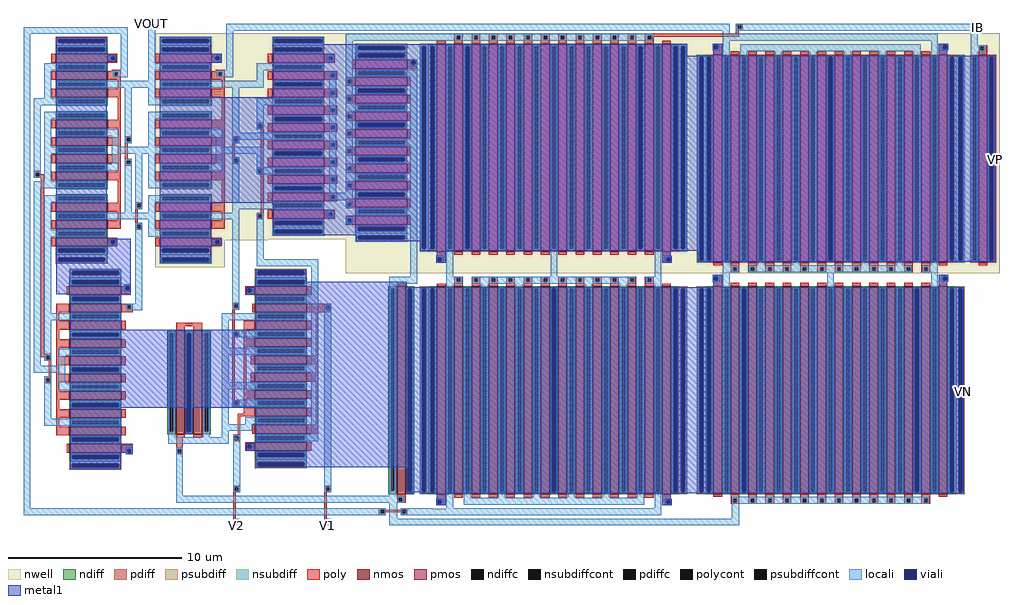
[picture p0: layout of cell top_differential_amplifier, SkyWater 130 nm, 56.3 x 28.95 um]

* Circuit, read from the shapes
.subckt top_differential_amplifier IB V1 V2 VN VOUT VP
XM1 n1 VN VN VN sky130_fd_pr__nfet_01v8 w=3 l=0.5 m=2
XM2 VOUT bias_generator_0/VCN n1 VN sky130_fd_pr__nfet_01v8 w=3 l=0.5 m=4
XM3 n2 bias_generator_0/VCN n3 VN sky130_fd_pr__nfet_01v8 w=3 l=0.5 m=4
XM4 VN VN VN VN sky130_fd_pr__nfet_01v8 w=3 l=0.5 m=2
XM5 n1 n2 VN VN sky130_fd_pr__nfet_01v8 w=3 l=0.5 m=4
XM6 n3 n2 VN VN sky130_fd_pr__nfet_01v8 w=3 l=0.5 m=4
XM7 VN bias_generator_0/VBN n4 VN sky130_fd_pr__nfet_01v8 w=6 l=0.5 m=2
XM8 n5 VN VN VN sky130_fd_pr__nfet_01v8 w=3 l=0.5 m=2
XM9 n4 V1 n5 VN sky130_fd_pr__nfet_01v8 w=3 l=0.5 m=4
XM10 n6 V2 n4 VN sky130_fd_pr__nfet_01v8 w=3 l=0.5 m=4
XM11 VN bias_generator_0/VBN bias_generator_0/VBN VN sky130_fd_pr__nfet_01v8 w=12 l=0.5
XM12 bias_generator_0/VCN VN VN VN sky130_fd_pr__nfet_01v8 w=12 l=0.5 m=2
XM13 n7 bias_generator_0/VCN bias_generator_0/VCN VN sky130_fd_pr__nfet_01v8 w=12 l=0.5 m=2
XM14 n8 n8 n7 VN sky130_fd_pr__nfet_01v8 w=12 l=0.5 m=8
XM15 VN n8 n7 VN sky130_fd_pr__nfet_01v8 w=12 l=0.5 m=2
XM16 bias_generator_0/VCP VN VN VN sky130_fd_pr__nfet_01v8 w=12 l=0.5 m=2
XM17 VN bias_generator_0/VBN bias_generator_0/VCP VN sky130_fd_pr__nfet_01v8 w=12 l=0.5 m=2
XM18 n9 bias_generator_0/VBN VN VN sky130_fd_pr__nfet_01v8 w=12 l=0.5
XM19 n10 bias_generator_0/VBN n9 VN sky130_fd_pr__nfet_01v8 w=12 l=0.5
XM20 n11 bias_generator_0/VBN n10 VN sky130_fd_pr__nfet_01v8 w=12 l=0.5
XM21 n12 bias_generator_0/VBN n11 VN sky130_fd_pr__nfet_01v8 w=12 l=0.5
XM22 n13 bias_generator_0/VBN n12 VN sky130_fd_pr__nfet_01v8 w=12 l=0.5
XM23 n14 bias_generator_0/VBN n13 VN sky130_fd_pr__nfet_01v8 w=12 l=0.5
XM24 n15 bias_generator_0/VBN n14 VN sky130_fd_pr__nfet_01v8 w=12 l=0.5
XM25 n16 bias_generator_0/VBN n15 VN sky130_fd_pr__nfet_01v8 w=12 l=0.5
XM26 n17 bias_generator_0/VBN n16 VN sky130_fd_pr__nfet_01v8 w=12 l=0.5
XM27 VN bias_generator_0/VBN n17 VN sky130_fd_pr__nfet_01v8 w=12 l=0.5
XM28 VOUT VP VP VP sky130_fd_pr__pfet_01v8 w=3 l=0.5 m=2
XM29 n6 bias_generator_0/VCP VOUT VP sky130_fd_pr__pfet_01v8 w=3 l=0.5 m=4
XM30 n5 bias_generator_0/VCP n2 VP sky130_fd_pr__pfet_01v8 w=3 l=0.5 m=4
XM31 n6 VP VP VP sky130_fd_pr__pfet_01v8 w=3 l=0.5 m=2
XM32 VP IB n6 VP sky130_fd_pr__pfet_01v8 w=3 l=0.5 m=4
XM33 n5 IB VP VP sky130_fd_pr__pfet_01v8 w=3 l=0.5 m=4
XM34 bias_generator_0/VBN VP VP VP sky130_fd_pr__pfet_01v8 w=3 l=0.5 m=2
XM35 VP IB bias_generator_0/VBN VP sky130_fd_pr__pfet_01v8 w=3 l=0.5 m=4
XM36 IB IB VP VP sky130_fd_pr__pfet_01v8 w=3 l=0.5 m=4
XM37 bias_generator_0/VCN VP VP VP sky130_fd_pr__pfet_01v8 w=12 l=0.5 m=2
XM38 VP IB bias_generator_0/VCN VP sky130_fd_pr__pfet_01v8 w=12 l=0.5 m=2
XM39 n18 IB VP VP sky130_fd_pr__pfet_01v8 w=12 l=0.5
XM40 n19 IB n18 VP sky130_fd_pr__pfet_01v8 w=12 l=0.5
XM41 n20 IB n19 VP sky130_fd_pr__pfet_01v8 w=12 l=0.5
XM42 n21 IB n20 VP sky130_fd_pr__pfet_01v8 w=12 l=0.5
XM43 n8 IB n21 VP sky130_fd_pr__pfet_01v8 w=12 l=0.5
XM44 n22 IB n8 VP sky130_fd_pr__pfet_01v8 w=12 l=0.5
XM45 n23 IB n22 VP sky130_fd_pr__pfet_01v8 w=12 l=0.5
XM46 n24 IB n23 VP sky130_fd_pr__pfet_01v8 w=12 l=0.5
XM47 n25 IB n24 VP sky130_fd_pr__pfet_01v8 w=12 l=0.5
XM48 VP IB n25 VP sky130_fd_pr__pfet_01v8 w=12 l=0.5
XM49 bias_generator_0/VCP VP VP VP sky130_fd_pr__pfet_01v8 w=12 l=0.5 m=2
XM50 n26 bias_generator_0/VCP bias_generator_0/VCP VP sky130_fd_pr__pfet_01v8 w=12 l=0.5 m=2
XM51 n13 n13 n26 VP sky130_fd_pr__pfet_01v8 w=12 l=0.5 m=8
XM52 VP n13 n26 VP sky130_fd_pr__pfet_01v8 w=12 l=0.5 m=2
XM53 VP IB IB VP sky130_fd_pr__pfet_01v8 w=12 l=0.5
.ends

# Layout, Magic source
magic
tech sky130A
<< nwell >>
rect -7020 1705 -6970 2895
rect -3410 1510 -3200 2895
<< pmos >>
rect -3320 1570 -3270 2770
<< pdiff >>
rect -3370 2755 -3320 2770
rect -3370 1585 -3355 2755
rect -3335 1585 -3320 2755
rect -3370 1570 -3320 1585
rect -3270 2755 -3220 2770
rect -3270 1585 -3255 2755
rect -3235 1585 -3220 2755
rect -3270 1570 -3220 1585
<< pdiffc >>
rect -3355 1585 -3335 2755
rect -3255 1585 -3235 2755
<< poly >>
rect -4720 2940 -4680 2950
rect -4720 2920 -4710 2940
rect -4690 2920 -4680 2940
rect -4720 2910 -4680 2920
rect -4720 2890 -4705 2910
rect -5200 2875 -4705 2890
rect -3320 2815 -3270 2825
rect -3320 2795 -3310 2815
rect -3290 2795 -3270 2815
rect -3320 2770 -3270 2795
rect -3320 1555 -3270 1570
rect -7620 275 -7580 285
rect -7620 255 -7610 275
rect -7590 255 -7580 275
rect -7620 245 -7580 255
rect -7095 275 -7055 285
rect -7095 255 -7085 275
rect -7065 255 -7055 275
rect -7095 245 -7055 255
rect -7620 95 -7605 245
rect -7095 95 -7080 245
rect -6780 145 -6740 155
rect -6655 145 -6615 155
rect -6780 125 -6770 145
rect -6750 130 -6645 145
rect -6750 125 -6740 130
rect -6780 115 -6740 125
rect -6655 125 -6645 130
rect -6625 125 -6615 145
rect -6655 115 -6615 125
rect -7620 85 -7580 95
rect -7620 65 -7610 85
rect -7590 65 -7580 85
rect -7620 55 -7580 65
rect -7095 85 -7055 95
rect -7095 65 -7085 85
rect -7065 65 -7055 85
rect -7095 55 -7055 65
<< polycont >>
rect -4710 2920 -4690 2940
rect -3310 2795 -3290 2815
rect -7610 255 -7590 275
rect -7085 255 -7065 275
rect -6770 125 -6750 145
rect -6645 125 -6625 145
rect -7610 65 -7590 85
rect -7085 65 -7065 85
<< locali >>
rect -8830 2890 -8230 2930
rect -8830 155 -8790 2890
rect -8270 2680 -8230 2890
rect -8110 2720 -8070 2950
rect -7660 2910 -4755 2950
rect -4720 2940 -3325 2950
rect -4720 2920 -4710 2940
rect -4690 2920 -3325 2940
rect -4720 2910 -3325 2920
rect -7660 2680 -7620 2910
rect -4795 2890 -4755 2910
rect -8275 2640 -8230 2680
rect -7675 2640 -7620 2680
rect -3365 2825 -3325 2910
rect -3365 2815 -3280 2825
rect -3365 2795 -3310 2815
rect -3290 2795 -3280 2815
rect -3365 2785 -3280 2795
rect -3365 2755 -3325 2785
rect -7025 1930 -6970 1975
rect -3365 1585 -3355 2755
rect -3335 1585 -3325 2755
rect -3365 1575 -3325 1585
rect -3265 2755 -3225 2765
rect -3265 1585 -3255 2755
rect -3235 1585 -3225 2755
rect -3265 1575 -3225 1585
rect -7950 225 -7910 465
rect -7620 275 -7580 580
rect -7620 255 -7610 275
rect -7590 255 -7580 275
rect -7620 245 -7580 255
rect -7095 275 -7055 1330
rect -7095 255 -7085 275
rect -7065 255 -7055 275
rect -7095 245 -7055 255
rect -7950 185 -6720 225
rect -8830 145 -6740 155
rect -8830 125 -6770 145
rect -6750 125 -6740 145
rect -8830 115 -6740 125
rect -6655 150 -6465 155
rect -6390 150 -6380 155
rect -6655 145 -6380 150
rect -6655 125 -6645 145
rect -6625 125 -6380 145
rect -6655 115 -6380 125
rect -7620 85 -7580 95
rect -7620 65 -7610 85
rect -7590 65 -7580 85
rect -7620 55 -7580 65
rect -7095 85 -7055 95
rect -7095 65 -7085 85
rect -7065 65 -7055 85
rect -7095 55 -7055 65
<< viali >>
rect -3255 1585 -3235 2755
<< metal1 >>
rect -7100 1730 -6910 2830
rect -3410 2755 -3225 2765
rect -3410 1585 -3255 2755
rect -3235 1585 -3225 2755
rect -3410 1575 -3225 1585
rect -7200 390 -6620 1460
rect -3445 810 -3405 850
use bias_generator  bias_generator_0
transform 1 0 -7520 0 1 2690
box 550 -2635 4140 205
use folded_cascode_differential_amplifier  folded_cascode_differential_amplifier_0 ~/Documents/VLSI/mp3/layouts
transform 0 1 -7190 -1 0 2785
box -110 -1580 2410 170
<< labels >>
rlabel metal1 -3225 2165 -3225 2165 3 VP
rlabel metal1 -3405 830 -3405 830 3 VN
rlabel locali -3325 2930 -3325 2930 3 IB
rlabel locali -8090 2950 -8090 2950 1 VOUT
rlabel locali -7600 55 -7600 55 5 V2
rlabel locali -7075 55 -7075 55 5 V1
<< end >>

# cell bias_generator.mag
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
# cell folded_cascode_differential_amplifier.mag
magic
tech sky130A
<< nwell >>
rect -110 -230 1080 170
rect -110 -480 1085 -230
rect -110 -880 1240 -480
<< nmos >>
rect 1350 -305 1400 -5
rect 1450 -305 1500 -5
rect 1550 -305 1600 -5
rect 1650 -305 1700 -5
rect 1750 -305 1800 -5
rect 1850 -305 1900 -5
rect 1950 -305 2000 -5
rect 2050 -305 2100 -5
rect 2150 -305 2200 -5
rect 2250 -305 2300 -5
rect 1605 -660 2205 -610
rect 1605 -760 2205 -710
rect 10 -1455 60 -1155
rect 110 -1455 160 -1155
rect 210 -1455 260 -1155
rect 390 -1455 440 -1155
rect 490 -1455 540 -1155
rect 590 -1455 640 -1155
rect 690 -1455 740 -1155
rect 870 -1455 920 -1155
rect 970 -1455 1020 -1155
rect 1070 -1455 1120 -1155
rect 1350 -1375 1400 -1075
rect 1450 -1375 1500 -1075
rect 1550 -1375 1600 -1075
rect 1655 -1375 1705 -1075
rect 1755 -1375 1805 -1075
rect 1855 -1375 1905 -1075
rect 1955 -1375 2005 -1075
rect 2060 -1375 2110 -1075
rect 2160 -1375 2210 -1075
rect 2260 -1375 2310 -1075
<< pmos >>
rect 10 -205 60 95
rect 110 -205 160 95
rect 210 -205 260 95
rect 310 -205 360 95
rect 410 -205 460 95
rect 510 -205 560 95
rect 610 -205 660 95
rect 710 -205 760 95
rect 810 -205 860 95
rect 910 -205 960 95
rect 10 -855 60 -555
rect 110 -855 160 -555
rect 210 -855 260 -555
rect 390 -855 440 -555
rect 490 -855 540 -555
rect 590 -855 640 -555
rect 690 -855 740 -555
rect 870 -855 920 -555
rect 970 -855 1020 -555
rect 1070 -855 1120 -555
<< ndiff >>
rect 1300 -20 1350 -5
rect 1300 -290 1315 -20
rect 1335 -290 1350 -20
rect 1300 -305 1350 -290
rect 1400 -20 1450 -5
rect 1400 -290 1415 -20
rect 1435 -290 1450 -20
rect 1400 -305 1450 -290
rect 1500 -20 1550 -5
rect 1500 -290 1515 -20
rect 1535 -290 1550 -20
rect 1500 -305 1550 -290
rect 1600 -20 1650 -5
rect 1600 -290 1615 -20
rect 1635 -290 1650 -20
rect 1600 -305 1650 -290
rect 1700 -20 1750 -5
rect 1700 -290 1715 -20
rect 1735 -290 1750 -20
rect 1700 -305 1750 -290
rect 1800 -20 1850 -5
rect 1800 -290 1815 -20
rect 1835 -290 1850 -20
rect 1800 -305 1850 -290
rect 1900 -20 1950 -5
rect 1900 -290 1915 -20
rect 1935 -290 1950 -20
rect 1900 -305 1950 -290
rect 2000 -20 2050 -5
rect 2000 -290 2015 -20
rect 2035 -290 2050 -20
rect 2000 -305 2050 -290
rect 2100 -20 2150 -5
rect 2100 -290 2115 -20
rect 2135 -290 2150 -20
rect 2100 -305 2150 -290
rect 2200 -20 2250 -5
rect 2200 -290 2215 -20
rect 2235 -290 2250 -20
rect 2200 -305 2250 -290
rect 2300 -20 2350 -5
rect 2300 -290 2315 -20
rect 2335 -290 2350 -20
rect 2300 -305 2350 -290
rect 1605 -575 2205 -560
rect 1605 -595 1620 -575
rect 2190 -595 2205 -575
rect 1605 -610 2205 -595
rect 1605 -675 2205 -660
rect 1605 -695 1620 -675
rect 2190 -695 2205 -675
rect 1605 -710 2205 -695
rect 1605 -775 2205 -760
rect 1605 -795 1620 -775
rect 2190 -795 2205 -775
rect 1605 -810 2205 -795
rect 1300 -1090 1350 -1075
rect -40 -1170 10 -1155
rect -40 -1440 -25 -1170
rect -5 -1440 10 -1170
rect -40 -1455 10 -1440
rect 60 -1170 110 -1155
rect 60 -1440 75 -1170
rect 95 -1440 110 -1170
rect 60 -1455 110 -1440
rect 160 -1170 210 -1155
rect 160 -1440 175 -1170
rect 195 -1440 210 -1170
rect 160 -1455 210 -1440
rect 260 -1170 310 -1155
rect 260 -1440 275 -1170
rect 295 -1440 310 -1170
rect 260 -1455 310 -1440
rect 340 -1170 390 -1155
rect 340 -1440 355 -1170
rect 375 -1440 390 -1170
rect 340 -1455 390 -1440
rect 440 -1170 490 -1155
rect 440 -1440 455 -1170
rect 475 -1440 490 -1170
rect 440 -1455 490 -1440
rect 540 -1170 590 -1155
rect 540 -1440 555 -1170
rect 575 -1440 590 -1170
rect 540 -1455 590 -1440
rect 640 -1170 690 -1155
rect 640 -1440 655 -1170
rect 675 -1440 690 -1170
rect 640 -1455 690 -1440
rect 740 -1170 790 -1155
rect 740 -1440 755 -1170
rect 775 -1440 790 -1170
rect 740 -1455 790 -1440
rect 820 -1170 870 -1155
rect 820 -1440 835 -1170
rect 855 -1440 870 -1170
rect 820 -1455 870 -1440
rect 920 -1170 970 -1155
rect 920 -1440 935 -1170
rect 955 -1440 970 -1170
rect 920 -1455 970 -1440
rect 1020 -1170 1070 -1155
rect 1020 -1440 1035 -1170
rect 1055 -1440 1070 -1170
rect 1020 -1455 1070 -1440
rect 1120 -1170 1170 -1155
rect 1120 -1440 1135 -1170
rect 1155 -1440 1170 -1170
rect 1300 -1360 1315 -1090
rect 1335 -1360 1350 -1090
rect 1300 -1375 1350 -1360
rect 1400 -1090 1450 -1075
rect 1400 -1360 1415 -1090
rect 1435 -1360 1450 -1090
rect 1400 -1375 1450 -1360
rect 1500 -1090 1550 -1075
rect 1500 -1360 1515 -1090
rect 1535 -1360 1550 -1090
rect 1500 -1375 1550 -1360
rect 1600 -1090 1655 -1075
rect 1600 -1360 1620 -1090
rect 1640 -1360 1655 -1090
rect 1600 -1375 1655 -1360
rect 1705 -1090 1755 -1075
rect 1705 -1360 1720 -1090
rect 1740 -1360 1755 -1090
rect 1705 -1375 1755 -1360
rect 1805 -1090 1855 -1075
rect 1805 -1360 1820 -1090
rect 1840 -1360 1855 -1090
rect 1805 -1375 1855 -1360
rect 1905 -1090 1955 -1075
rect 1905 -1360 1920 -1090
rect 1940 -1360 1955 -1090
rect 1905 -1375 1955 -1360
rect 2005 -1090 2060 -1075
rect 2005 -1360 2025 -1090
rect 2045 -1360 2060 -1090
rect 2005 -1375 2060 -1360
rect 2110 -1090 2160 -1075
rect 2110 -1360 2125 -1090
rect 2145 -1360 2160 -1090
rect 2110 -1375 2160 -1360
rect 2210 -1090 2260 -1075
rect 2210 -1360 2225 -1090
rect 2245 -1360 2260 -1090
rect 2210 -1375 2260 -1360
rect 2310 -1090 2360 -1075
rect 2310 -1360 2325 -1090
rect 2345 -1360 2360 -1090
rect 2310 -1375 2360 -1360
rect 1120 -1455 1170 -1440
<< pdiff >>
rect -40 80 10 95
rect -40 -190 -25 80
rect -5 -190 10 80
rect -40 -205 10 -190
rect 60 80 110 95
rect 60 -190 75 80
rect 95 -190 110 80
rect 60 -205 110 -190
rect 160 80 210 95
rect 160 -190 175 80
rect 195 -190 210 80
rect 160 -205 210 -190
rect 260 80 310 95
rect 260 -190 275 80
rect 295 -190 310 80
rect 260 -205 310 -190
rect 360 80 410 95
rect 360 -190 375 80
rect 395 -190 410 80
rect 360 -205 410 -190
rect 460 80 510 95
rect 460 -190 475 80
rect 495 -190 510 80
rect 460 -205 510 -190
rect 560 80 610 95
rect 560 -190 575 80
rect 595 -190 610 80
rect 560 -205 610 -190
rect 660 80 710 95
rect 660 -190 675 80
rect 695 -190 710 80
rect 660 -205 710 -190
rect 760 80 810 95
rect 760 -190 775 80
rect 795 -190 810 80
rect 760 -205 810 -190
rect 860 80 910 95
rect 860 -190 875 80
rect 895 -190 910 80
rect 860 -205 910 -190
rect 960 80 1010 95
rect 960 -190 975 80
rect 995 -190 1010 80
rect 960 -205 1010 -190
rect -40 -570 10 -555
rect -40 -840 -25 -570
rect -5 -840 10 -570
rect -40 -855 10 -840
rect 60 -570 110 -555
rect 60 -840 75 -570
rect 95 -840 110 -570
rect 60 -855 110 -840
rect 160 -570 210 -555
rect 160 -840 175 -570
rect 195 -840 210 -570
rect 160 -855 210 -840
rect 260 -570 310 -555
rect 260 -840 275 -570
rect 295 -840 310 -570
rect 260 -855 310 -840
rect 340 -570 390 -555
rect 340 -840 355 -570
rect 375 -840 390 -570
rect 340 -855 390 -840
rect 440 -570 490 -555
rect 440 -840 455 -570
rect 475 -840 490 -570
rect 440 -855 490 -840
rect 540 -570 590 -555
rect 540 -840 555 -570
rect 575 -840 590 -570
rect 540 -855 590 -840
rect 640 -570 690 -555
rect 640 -840 655 -570
rect 675 -840 690 -570
rect 640 -855 690 -840
rect 740 -570 790 -555
rect 740 -840 755 -570
rect 775 -840 790 -570
rect 740 -855 790 -840
rect 820 -570 870 -555
rect 820 -840 835 -570
rect 855 -840 870 -570
rect 820 -855 870 -840
rect 920 -570 970 -555
rect 920 -840 935 -570
rect 955 -840 970 -570
rect 920 -855 970 -840
rect 1020 -570 1070 -555
rect 1020 -840 1035 -570
rect 1055 -840 1070 -570
rect 1020 -855 1070 -840
rect 1120 -570 1170 -555
rect 1120 -840 1135 -570
rect 1155 -840 1170 -570
rect 1120 -855 1170 -840
<< ndiffc >>
rect 1315 -290 1335 -20
rect 1415 -290 1435 -20
rect 1515 -290 1535 -20
rect 1615 -290 1635 -20
rect 1715 -290 1735 -20
rect 1815 -290 1835 -20
rect 1915 -290 1935 -20
rect 2015 -290 2035 -20
rect 2115 -290 2135 -20
rect 2215 -290 2235 -20
rect 2315 -290 2335 -20
rect 1620 -595 2190 -575
rect 1620 -695 2190 -675
rect 1620 -795 2190 -775
rect -25 -1440 -5 -1170
rect 75 -1440 95 -1170
rect 175 -1440 195 -1170
rect 275 -1440 295 -1170
rect 355 -1440 375 -1170
rect 455 -1440 475 -1170
rect 555 -1440 575 -1170
rect 655 -1440 675 -1170
rect 755 -1440 775 -1170
rect 835 -1440 855 -1170
rect 935 -1440 955 -1170
rect 1035 -1440 1055 -1170
rect 1135 -1440 1155 -1170
rect 1315 -1360 1335 -1090
rect 1415 -1360 1435 -1090
rect 1515 -1360 1535 -1090
rect 1620 -1360 1640 -1090
rect 1720 -1360 1740 -1090
rect 1820 -1360 1840 -1090
rect 1920 -1360 1940 -1090
rect 2025 -1360 2045 -1090
rect 2125 -1360 2145 -1090
rect 2225 -1360 2245 -1090
rect 2325 -1360 2345 -1090
<< pdiffc >>
rect -25 -190 -5 80
rect 75 -190 95 80
rect 175 -190 195 80
rect 275 -190 295 80
rect 375 -190 395 80
rect 475 -190 495 80
rect 575 -190 595 80
rect 675 -190 695 80
rect 775 -190 795 80
rect 875 -190 895 80
rect 975 -190 995 80
rect -25 -840 -5 -570
rect 75 -840 95 -570
rect 175 -840 195 -570
rect 275 -840 295 -570
rect 355 -840 375 -570
rect 455 -840 475 -570
rect 555 -840 575 -570
rect 655 -840 675 -570
rect 755 -840 775 -570
rect 835 -840 855 -570
rect 935 -840 955 -570
rect 1035 -840 1055 -570
rect 1135 -840 1155 -570
<< psubdiff >>
rect 1250 -20 1300 -5
rect 1250 -290 1265 -20
rect 1285 -290 1300 -20
rect 1250 -305 1300 -290
rect 2350 -20 2400 -5
rect 2350 -290 2365 -20
rect 2385 -290 2400 -20
rect 2350 -305 2400 -290
rect 1250 -1090 1300 -1075
rect -90 -1170 -40 -1155
rect -90 -1440 -75 -1170
rect -55 -1440 -40 -1170
rect -90 -1455 -40 -1440
rect 1170 -1170 1220 -1155
rect 1170 -1440 1185 -1170
rect 1205 -1440 1220 -1170
rect 1250 -1360 1265 -1090
rect 1285 -1360 1300 -1090
rect 1250 -1375 1300 -1360
rect 2360 -1090 2410 -1075
rect 2360 -1360 2375 -1090
rect 2395 -1360 2410 -1090
rect 2360 -1375 2410 -1360
rect 1170 -1455 1220 -1440
<< nsubdiff >>
rect -90 80 -40 95
rect -90 -190 -75 80
rect -55 -190 -40 80
rect -90 -205 -40 -190
rect 1010 80 1060 95
rect 1010 -190 1025 80
rect 1045 -190 1060 80
rect 1010 -205 1060 -190
rect -90 -570 -40 -555
rect -90 -840 -75 -570
rect -55 -840 -40 -570
rect -90 -855 -40 -840
rect 1170 -570 1220 -555
rect 1170 -840 1185 -570
rect 1205 -840 1220 -570
rect 1170 -855 1220 -840
<< psubdiffcont >>
rect 1265 -290 1285 -20
rect 2365 -290 2385 -20
rect -75 -1440 -55 -1170
rect 1185 -1440 1205 -1170
rect 1265 -1360 1285 -1090
rect 2375 -1360 2395 -1090
<< nsubdiffcont >>
rect -75 -190 -55 80
rect 1025 -190 1045 80
rect -75 -840 -55 -570
rect 1185 -840 1205 -570
<< poly >>
rect 110 155 160 170
rect 10 140 60 155
rect 10 120 25 140
rect 45 120 60 140
rect 10 95 60 120
rect 110 135 125 155
rect 145 135 160 155
rect 110 95 160 135
rect 210 155 260 170
rect 210 135 225 155
rect 245 135 260 155
rect 210 95 260 135
rect 310 155 360 170
rect 310 135 325 155
rect 345 135 360 155
rect 310 95 360 135
rect 410 155 460 170
rect 410 135 425 155
rect 445 135 460 155
rect 410 95 460 135
rect 510 155 560 170
rect 510 135 525 155
rect 545 135 560 155
rect 510 95 560 135
rect 610 155 660 170
rect 610 135 625 155
rect 645 135 660 155
rect 610 95 660 135
rect 710 155 760 170
rect 710 135 725 155
rect 745 135 760 155
rect 710 95 760 135
rect 810 155 860 170
rect 810 135 825 155
rect 845 135 860 155
rect 810 95 860 135
rect 910 140 960 155
rect 910 120 925 140
rect 945 120 960 140
rect 910 95 960 120
rect 1450 125 1500 135
rect 1450 105 1465 125
rect 1485 105 1500 125
rect 1450 60 1500 105
rect 1450 45 2200 60
rect 1350 -5 1400 20
rect 1450 -5 1500 45
rect 1550 -5 1600 20
rect 1650 -5 1700 20
rect 1750 -5 1800 45
rect 1850 -5 1900 45
rect 1950 -5 2000 20
rect 2050 -5 2100 20
rect 2150 -5 2200 45
rect 2250 -5 2300 20
rect 10 -230 60 -205
rect 110 -230 160 -205
rect 210 -230 260 -205
rect 310 -230 360 -205
rect 410 -230 460 -205
rect 510 -230 560 -205
rect 610 -230 660 -205
rect 710 -230 760 -205
rect 810 -230 860 -205
rect 910 -230 960 -205
rect 405 -265 965 -255
rect 405 -285 415 -265
rect 435 -270 675 -265
rect 435 -285 445 -270
rect 405 -295 445 -285
rect 665 -285 675 -270
rect 695 -270 935 -265
rect 695 -285 705 -270
rect 665 -295 705 -285
rect 925 -285 935 -270
rect 955 -285 965 -265
rect 925 -295 965 -285
rect 1350 -325 1400 -305
rect 1450 -320 1500 -305
rect 1350 -345 1365 -325
rect 1385 -345 1400 -325
rect 1350 -360 1400 -345
rect 1550 -355 1600 -305
rect 1650 -355 1700 -305
rect 1750 -330 1800 -305
rect 1850 -330 1900 -305
rect 1950 -355 2000 -305
rect 2050 -355 2100 -305
rect 2150 -320 2200 -305
rect 1550 -370 2100 -355
rect 2250 -325 2300 -305
rect 2250 -345 2265 -325
rect 2285 -345 2300 -325
rect 2250 -360 2300 -345
rect 2085 -390 2100 -370
rect 485 -405 525 -395
rect 485 -425 495 -405
rect 515 -420 525 -405
rect 605 -405 645 -395
rect 605 -420 615 -405
rect 515 -425 615 -420
rect 635 -425 645 -405
rect 485 -435 645 -425
rect 1445 -405 1485 -395
rect 1445 -425 1455 -405
rect 1475 -420 1485 -405
rect 1605 -405 1645 -395
rect 1605 -420 1615 -405
rect 1475 -425 1615 -420
rect 1635 -420 1645 -405
rect 2005 -405 2045 -395
rect 2085 -400 2245 -390
rect 2085 -405 2215 -400
rect 2005 -420 2015 -405
rect 1635 -425 2015 -420
rect 2035 -425 2045 -405
rect 1445 -435 2045 -425
rect 2205 -420 2215 -405
rect 2235 -420 2245 -400
rect 2205 -430 2245 -420
rect 100 -495 1020 -480
rect 10 -510 60 -495
rect 10 -530 25 -510
rect 45 -530 60 -510
rect 100 -515 115 -495
rect 135 -515 160 -495
rect 100 -530 160 -515
rect 10 -555 60 -530
rect 110 -555 160 -530
rect 210 -555 260 -495
rect 390 -555 440 -495
rect 490 -555 540 -495
rect 590 -555 640 -495
rect 690 -555 740 -495
rect 870 -555 920 -495
rect 970 -555 1020 -495
rect 1070 -510 1120 -495
rect 1070 -530 1085 -510
rect 1105 -530 1120 -510
rect 1070 -555 1120 -530
rect 1560 -660 1605 -610
rect 2205 -660 2220 -610
rect 1560 -710 1580 -660
rect 1560 -760 1605 -710
rect 2205 -720 2220 -710
rect 2205 -730 2320 -720
rect 2205 -750 2290 -730
rect 2310 -750 2320 -730
rect 2205 -760 2320 -750
rect 10 -880 60 -855
rect 110 -880 160 -855
rect 210 -880 260 -855
rect 390 -880 440 -855
rect 490 -880 540 -855
rect 590 -880 640 -855
rect 690 -880 740 -855
rect 870 -880 920 -855
rect 970 -880 1020 -855
rect 1070 -880 1120 -855
rect 865 -965 905 -955
rect 865 -985 875 -965
rect 895 -980 905 -965
rect 985 -965 1025 -955
rect 985 -980 995 -965
rect 895 -985 995 -980
rect 1015 -985 1025 -965
rect 865 -995 1025 -985
rect 485 -1025 525 -1015
rect 485 -1045 495 -1025
rect 515 -1040 525 -1025
rect 615 -1025 655 -1015
rect 1450 -1020 1500 -1010
rect 615 -1040 625 -1025
rect 515 -1045 625 -1040
rect 645 -1045 655 -1025
rect 485 -1055 655 -1045
rect 1340 -1030 1400 -1020
rect 1340 -1050 1350 -1030
rect 1370 -1050 1400 -1030
rect 1340 -1060 1400 -1050
rect 1350 -1075 1400 -1060
rect 1450 -1040 1460 -1020
rect 1480 -1040 1500 -1020
rect 1450 -1075 1500 -1040
rect 2260 -1020 2320 -1010
rect 2260 -1040 2290 -1020
rect 2310 -1040 2320 -1020
rect 2260 -1050 2320 -1040
rect 1550 -1075 1600 -1050
rect 1655 -1075 1705 -1050
rect 1755 -1075 1805 -1050
rect 1855 -1075 1905 -1050
rect 1955 -1075 2005 -1050
rect 2060 -1075 2110 -1050
rect 2160 -1075 2210 -1050
rect 2260 -1075 2310 -1050
rect 100 -1095 1020 -1080
rect 10 -1115 60 -1100
rect 10 -1135 25 -1115
rect 45 -1135 60 -1115
rect 100 -1115 115 -1095
rect 135 -1115 160 -1095
rect 100 -1130 160 -1115
rect 10 -1155 60 -1135
rect 110 -1155 160 -1130
rect 210 -1155 260 -1095
rect 390 -1155 440 -1095
rect 490 -1155 540 -1095
rect 590 -1155 640 -1095
rect 690 -1155 740 -1095
rect 870 -1155 920 -1095
rect 970 -1155 1020 -1095
rect 1070 -1115 1120 -1100
rect 1070 -1135 1085 -1115
rect 1105 -1135 1120 -1115
rect 1070 -1155 1120 -1135
rect 1350 -1390 1400 -1375
rect 1450 -1435 1500 -1375
rect 1550 -1435 1600 -1375
rect 1655 -1435 1705 -1375
rect 1755 -1435 1805 -1375
rect 1855 -1435 1905 -1375
rect 1955 -1435 2005 -1375
rect 2060 -1435 2110 -1375
rect 2160 -1435 2210 -1375
rect 2260 -1390 2310 -1375
rect 1450 -1450 2210 -1435
rect 10 -1480 60 -1455
rect 110 -1480 160 -1455
rect 210 -1480 260 -1455
rect 390 -1480 440 -1455
rect 490 -1480 540 -1455
rect 590 -1480 640 -1455
rect 690 -1480 740 -1455
rect 870 -1480 920 -1455
rect 970 -1480 1020 -1455
rect 1070 -1480 1120 -1455
rect 1740 -1490 1910 -1480
rect 1740 -1510 1750 -1490
rect 1770 -1495 1880 -1490
rect 1770 -1510 1780 -1495
rect 1740 -1520 1780 -1510
rect 1870 -1510 1880 -1495
rect 1900 -1510 1910 -1490
rect 1870 -1520 1910 -1510
rect 705 -1540 1760 -1520
rect 685 -1550 725 -1540
rect 685 -1570 695 -1550
rect 715 -1570 725 -1550
rect 685 -1580 725 -1570
<< polycont >>
rect 25 120 45 140
rect 125 135 145 155
rect 225 135 245 155
rect 325 135 345 155
rect 425 135 445 155
rect 525 135 545 155
rect 625 135 645 155
rect 725 135 745 155
rect 825 135 845 155
rect 925 120 945 140
rect 1465 105 1485 125
rect 415 -285 435 -265
rect 675 -285 695 -265
rect 935 -285 955 -265
rect 1365 -345 1385 -325
rect 2265 -345 2285 -325
rect 495 -425 515 -405
rect 615 -425 635 -405
rect 1455 -425 1475 -405
rect 1615 -425 1635 -405
rect 2015 -425 2035 -405
rect 2215 -420 2235 -400
rect 25 -530 45 -510
rect 115 -515 135 -495
rect 1085 -530 1105 -510
rect 2290 -750 2310 -730
rect 875 -985 895 -965
rect 995 -985 1015 -965
rect 495 -1045 515 -1025
rect 625 -1045 645 -1025
rect 1350 -1050 1370 -1030
rect 1460 -1040 1480 -1020
rect 2290 -1040 2310 -1020
rect 25 -1135 45 -1115
rect 115 -1115 135 -1095
rect 1085 -1135 1105 -1115
rect 1750 -1510 1770 -1490
rect 1880 -1510 1900 -1490
rect 695 -1570 715 -1550
<< locali >>
rect 115 155 855 165
rect 15 140 55 150
rect 15 120 25 140
rect 45 120 55 140
rect 115 135 125 155
rect 145 135 225 155
rect 245 135 325 155
rect 345 135 425 155
rect 445 135 525 155
rect 545 135 625 155
rect 645 135 725 155
rect 745 135 825 155
rect 845 135 855 155
rect 115 125 855 135
rect 915 140 955 150
rect 15 110 55 120
rect 915 120 925 140
rect 945 120 955 140
rect 915 110 955 120
rect 1455 125 1495 135
rect 1455 105 1465 125
rect 1485 105 1495 125
rect 1455 95 1495 105
rect -85 80 5 90
rect -85 -190 -75 80
rect -55 -190 -25 80
rect -5 -190 5 80
rect -85 -200 5 -190
rect 65 80 105 90
rect 65 -190 75 80
rect 95 -190 105 80
rect 65 -255 105 -190
rect 165 80 205 90
rect 165 -190 175 80
rect 195 -190 205 80
rect 165 -200 205 -190
rect 265 80 305 90
rect 265 -190 275 80
rect 295 -190 305 80
rect 265 -255 305 -190
rect 365 80 405 90
rect 365 -190 375 80
rect 395 -190 405 80
rect 365 -200 405 -190
rect 465 80 505 90
rect 465 -190 475 80
rect 495 -190 505 80
rect 65 -295 205 -255
rect 265 -265 445 -255
rect 265 -285 415 -265
rect 435 -285 445 -265
rect 265 -295 445 -285
rect 165 -395 205 -295
rect 465 -395 505 -190
rect 565 80 605 90
rect 565 -190 575 80
rect 595 -190 605 80
rect 565 -200 605 -190
rect 665 80 705 90
rect 665 -190 675 80
rect 695 -190 705 80
rect 665 -255 705 -190
rect 765 80 805 90
rect 765 -190 775 80
rect 795 -190 805 80
rect 765 -200 805 -190
rect 865 80 905 90
rect 865 -190 875 80
rect 895 -190 905 80
rect 545 -265 705 -255
rect 545 -285 675 -265
rect 695 -285 705 -265
rect 545 -295 705 -285
rect 165 -405 525 -395
rect 165 -425 495 -405
rect 515 -425 525 -405
rect 165 -435 525 -425
rect 105 -495 145 -485
rect 15 -510 55 -500
rect 15 -530 25 -510
rect 45 -530 55 -510
rect 105 -515 115 -495
rect 135 -515 145 -495
rect 105 -525 145 -515
rect 15 -540 55 -530
rect -85 -570 5 -560
rect -85 -840 -75 -570
rect -55 -840 -25 -570
rect -5 -840 5 -570
rect -85 -850 5 -840
rect 65 -570 105 -560
rect 65 -840 75 -570
rect 95 -840 105 -570
rect 65 -880 105 -840
rect 165 -570 205 -435
rect 545 -490 585 -295
rect 865 -395 905 -190
rect 965 80 1055 90
rect 965 -190 975 80
rect 995 -190 1025 80
rect 1045 -190 1055 80
rect 965 -200 1055 -190
rect 1195 20 2245 60
rect 1195 -255 1235 20
rect 925 -265 1235 -255
rect 925 -285 935 -265
rect 955 -285 1235 -265
rect 925 -295 1235 -285
rect 1255 -20 1345 -10
rect 1255 -290 1265 -20
rect 1285 -290 1315 -20
rect 1335 -290 1345 -20
rect 1255 -300 1345 -290
rect 1405 -20 1445 20
rect 1405 -290 1415 -20
rect 1435 -290 1445 -20
rect 1405 -295 1445 -290
rect 1505 -20 1545 -10
rect 1505 -290 1515 -20
rect 1535 -290 1545 -20
rect 1355 -325 1395 -315
rect 1355 -345 1365 -325
rect 1385 -345 1395 -325
rect 1355 -355 1395 -345
rect 605 -405 1485 -395
rect 605 -425 615 -405
rect 635 -425 1455 -405
rect 1475 -425 1485 -405
rect 605 -435 1485 -425
rect 445 -530 685 -490
rect 165 -840 175 -570
rect 195 -840 205 -570
rect 165 -850 205 -840
rect 265 -570 305 -560
rect 265 -840 275 -570
rect 295 -840 305 -570
rect 265 -880 305 -840
rect 65 -920 305 -880
rect 345 -570 385 -560
rect 345 -840 355 -570
rect 375 -840 385 -570
rect 345 -880 385 -840
rect 445 -570 485 -530
rect 445 -840 455 -570
rect 475 -840 485 -570
rect 445 -850 485 -840
rect 545 -570 585 -560
rect 545 -840 555 -570
rect 575 -840 585 -570
rect 545 -880 585 -840
rect 645 -570 685 -530
rect 645 -840 655 -570
rect 675 -840 685 -570
rect 645 -850 685 -840
rect 745 -570 785 -560
rect 745 -840 755 -570
rect 775 -840 785 -570
rect 745 -880 785 -840
rect 345 -920 785 -880
rect 825 -570 865 -560
rect 825 -840 835 -570
rect 855 -840 865 -570
rect 825 -880 865 -840
rect 925 -570 965 -435
rect 1505 -455 1545 -290
rect 1605 -20 1645 -10
rect 1605 -290 1615 -20
rect 1635 -290 1645 -20
rect 1605 -405 1645 -290
rect 1605 -425 1615 -405
rect 1635 -425 1645 -405
rect 1605 -435 1645 -425
rect 1705 -20 1745 -10
rect 1705 -290 1715 -20
rect 1735 -290 1745 -20
rect 1705 -455 1745 -290
rect 1805 -20 1845 20
rect 1805 -290 1815 -20
rect 1835 -290 1845 -20
rect 1805 -295 1845 -290
rect 1905 -20 1945 -10
rect 1905 -290 1915 -20
rect 1935 -290 1945 -20
rect 1905 -455 1945 -290
rect 2005 -20 2045 -10
rect 2005 -290 2015 -20
rect 2035 -290 2045 -20
rect 2005 -405 2045 -290
rect 2105 -20 2145 -10
rect 2105 -290 2115 -20
rect 2135 -290 2145 -20
rect 2105 -320 2145 -290
rect 2205 -20 2245 20
rect 2205 -290 2215 -20
rect 2235 -290 2245 -20
rect 2205 -295 2245 -290
rect 2305 -20 2395 -10
rect 2305 -290 2315 -20
rect 2335 -290 2365 -20
rect 2385 -290 2395 -20
rect 2305 -300 2395 -290
rect 2105 -360 2185 -320
rect 2255 -325 2295 -315
rect 2255 -345 2265 -325
rect 2285 -345 2295 -325
rect 2255 -355 2295 -345
rect 2005 -425 2015 -405
rect 2035 -425 2045 -405
rect 2005 -435 2045 -425
rect 2145 -455 2185 -360
rect 2205 -400 2245 -390
rect 2205 -420 2215 -400
rect 2235 -420 2245 -400
rect 2205 -430 2245 -420
rect 1505 -495 2260 -455
rect 1075 -510 1115 -500
rect 1075 -530 1085 -510
rect 1105 -530 1115 -510
rect 1075 -540 1115 -530
rect 925 -840 935 -570
rect 955 -840 965 -570
rect 925 -850 965 -840
rect 1025 -570 1065 -560
rect 1025 -840 1035 -570
rect 1055 -840 1065 -570
rect 1025 -880 1065 -840
rect 1125 -570 1215 -560
rect 2220 -565 2260 -495
rect 1125 -840 1135 -570
rect 1155 -840 1185 -570
rect 1205 -840 1215 -570
rect 1610 -575 2260 -565
rect 1610 -595 1620 -575
rect 2190 -595 2260 -575
rect 1610 -605 2260 -595
rect 1610 -675 2200 -665
rect 1610 -695 1620 -675
rect 2190 -695 2200 -675
rect 1610 -705 2200 -695
rect 2220 -765 2260 -605
rect 2280 -730 2320 -720
rect 2280 -750 2290 -730
rect 2310 -750 2320 -730
rect 2280 -760 2320 -750
rect 1610 -775 2260 -765
rect 1610 -795 1620 -775
rect 2190 -795 2260 -775
rect 1610 -805 2260 -795
rect 1125 -850 1215 -840
rect 825 -920 1065 -880
rect 165 -1015 205 -920
rect 545 -955 585 -920
rect 545 -965 905 -955
rect 545 -985 875 -965
rect 895 -985 905 -965
rect 545 -995 905 -985
rect 165 -1025 525 -1015
rect 165 -1045 495 -1025
rect 515 -1045 525 -1025
rect 165 -1055 525 -1045
rect 105 -1095 145 -1085
rect 15 -1115 55 -1105
rect 15 -1135 25 -1115
rect 45 -1135 55 -1115
rect 105 -1115 115 -1095
rect 135 -1115 145 -1095
rect 105 -1125 145 -1115
rect 15 -1145 55 -1135
rect -85 -1170 5 -1160
rect -85 -1440 -75 -1170
rect -55 -1440 -25 -1170
rect -5 -1440 5 -1170
rect -85 -1450 5 -1440
rect 65 -1170 105 -1160
rect 65 -1440 75 -1170
rect 95 -1440 105 -1170
rect 65 -1480 105 -1440
rect 165 -1170 205 -1055
rect 545 -1090 585 -995
rect 925 -1015 965 -920
rect 985 -965 1490 -955
rect 985 -985 995 -965
rect 1015 -985 1490 -965
rect 985 -995 1490 -985
rect 615 -1025 965 -1015
rect 1450 -1020 1490 -995
rect 615 -1045 625 -1025
rect 645 -1045 965 -1025
rect 615 -1055 965 -1045
rect 445 -1130 685 -1090
rect 165 -1440 175 -1170
rect 195 -1440 205 -1170
rect 165 -1450 205 -1440
rect 265 -1170 305 -1160
rect 265 -1440 275 -1170
rect 295 -1440 305 -1170
rect 265 -1480 305 -1440
rect 65 -1520 305 -1480
rect 345 -1170 385 -1160
rect 345 -1440 355 -1170
rect 375 -1440 385 -1170
rect 345 -1480 385 -1440
rect 445 -1170 485 -1130
rect 445 -1440 455 -1170
rect 475 -1440 485 -1170
rect 445 -1450 485 -1440
rect 545 -1170 585 -1160
rect 545 -1440 555 -1170
rect 575 -1440 585 -1170
rect 545 -1480 585 -1440
rect 645 -1170 685 -1130
rect 645 -1440 655 -1170
rect 675 -1440 685 -1170
rect 645 -1450 685 -1440
rect 745 -1170 785 -1160
rect 745 -1440 755 -1170
rect 775 -1440 785 -1170
rect 745 -1480 785 -1440
rect 345 -1520 785 -1480
rect 825 -1170 865 -1160
rect 825 -1440 835 -1170
rect 855 -1440 865 -1170
rect 825 -1480 865 -1440
rect 925 -1170 965 -1055
rect 1340 -1030 1380 -1020
rect 1340 -1050 1350 -1030
rect 1370 -1050 1380 -1030
rect 1450 -1040 1460 -1020
rect 1480 -1040 1490 -1020
rect 1450 -1050 1490 -1040
rect 2280 -1020 2320 -1010
rect 2280 -1040 2290 -1020
rect 2310 -1040 2320 -1020
rect 2280 -1050 2320 -1040
rect 1340 -1060 1380 -1050
rect 1255 -1090 1345 -1080
rect 1075 -1115 1115 -1105
rect 1075 -1135 1085 -1115
rect 1105 -1135 1115 -1115
rect 1075 -1145 1115 -1135
rect 925 -1440 935 -1170
rect 955 -1440 965 -1170
rect 925 -1450 965 -1440
rect 1025 -1170 1065 -1160
rect 1025 -1440 1035 -1170
rect 1055 -1440 1065 -1170
rect 1025 -1480 1065 -1440
rect 1125 -1170 1215 -1160
rect 1125 -1440 1135 -1170
rect 1155 -1440 1185 -1170
rect 1205 -1440 1215 -1170
rect 1255 -1360 1265 -1090
rect 1285 -1360 1315 -1090
rect 1335 -1360 1345 -1090
rect 1255 -1370 1345 -1360
rect 1405 -1090 1445 -1080
rect 1405 -1360 1415 -1090
rect 1435 -1360 1445 -1090
rect 1405 -1370 1445 -1360
rect 1505 -1090 1545 -1080
rect 1505 -1360 1515 -1090
rect 1535 -1360 1545 -1090
rect 1125 -1450 1215 -1440
rect 1505 -1480 1545 -1360
rect 1605 -1090 1650 -1080
rect 1605 -1360 1620 -1090
rect 1640 -1360 1650 -1090
rect 1605 -1370 1650 -1360
rect 1710 -1090 1750 -1080
rect 1710 -1360 1720 -1090
rect 1740 -1360 1750 -1090
rect 1710 -1400 1750 -1360
rect 1810 -1090 1850 -1080
rect 1810 -1360 1820 -1090
rect 1840 -1360 1850 -1090
rect 1810 -1370 1850 -1360
rect 1910 -1090 1950 -1080
rect 1910 -1360 1920 -1090
rect 1940 -1360 1950 -1090
rect 1910 -1400 1950 -1360
rect 2010 -1090 2055 -1080
rect 2010 -1360 2025 -1090
rect 2045 -1360 2055 -1090
rect 2010 -1370 2055 -1360
rect 2115 -1090 2155 -1080
rect 2115 -1360 2125 -1090
rect 2145 -1360 2155 -1090
rect 1710 -1440 1950 -1400
rect 825 -1490 1780 -1480
rect 825 -1510 1750 -1490
rect 1770 -1510 1780 -1490
rect 825 -1520 1780 -1510
rect 265 -1540 305 -1520
rect 745 -1540 785 -1520
rect 1810 -1540 1850 -1440
rect 2115 -1480 2155 -1360
rect 2215 -1090 2255 -1080
rect 2215 -1360 2225 -1090
rect 2245 -1360 2255 -1090
rect 2215 -1370 2255 -1360
rect 2315 -1090 2405 -1080
rect 2315 -1360 2325 -1090
rect 2345 -1360 2375 -1090
rect 2395 -1360 2405 -1090
rect 2315 -1370 2405 -1360
rect 1870 -1490 2155 -1480
rect 1870 -1510 1880 -1490
rect 1900 -1510 2155 -1490
rect 1870 -1520 2155 -1510
rect 265 -1550 725 -1540
rect 265 -1570 695 -1550
rect 715 -1570 725 -1550
rect 265 -1580 725 -1570
rect 745 -1580 1850 -1540
<< viali >>
rect 25 120 45 140
rect 925 120 945 140
rect -75 -190 -55 80
rect -25 -190 -5 80
rect 175 -190 195 80
rect 375 -190 395 80
rect 575 -190 595 80
rect 775 -190 795 80
rect 25 -530 45 -510
rect -75 -840 -55 -570
rect -25 -840 -5 -570
rect 975 -190 995 80
rect 1025 -190 1045 80
rect 1265 -290 1285 -20
rect 1315 -290 1335 -20
rect 1365 -345 1385 -325
rect 2315 -290 2335 -20
rect 2365 -290 2385 -20
rect 2265 -345 2285 -325
rect 1085 -530 1105 -510
rect 1135 -840 1155 -570
rect 1185 -840 1205 -570
rect 1620 -695 2190 -675
rect 25 -1135 45 -1115
rect -75 -1440 -55 -1170
rect -25 -1440 -5 -1170
rect 1350 -1050 1370 -1030
rect 2290 -1040 2310 -1020
rect 1085 -1135 1105 -1115
rect 1135 -1440 1155 -1170
rect 1185 -1440 1205 -1170
rect 1265 -1360 1285 -1090
rect 1315 -1360 1335 -1090
rect 1415 -1360 1435 -1090
rect 1620 -1360 1640 -1090
rect 1820 -1360 1840 -1090
rect 2025 -1360 2045 -1090
rect 2225 -1360 2245 -1090
rect 2325 -1360 2345 -1090
rect 2375 -1360 2395 -1090
<< metal1 >>
rect 15 140 55 150
rect 15 120 25 140
rect 45 120 55 140
rect 15 90 55 120
rect 915 140 955 150
rect 915 120 925 140
rect 945 120 955 140
rect 915 90 955 120
rect -85 80 1055 90
rect -85 -190 -75 80
rect -55 -190 -25 80
rect -5 -190 175 80
rect 195 -190 375 80
rect 395 -190 575 80
rect 595 -190 775 80
rect 795 -190 975 80
rect 995 -190 1025 80
rect 1045 -190 1055 80
rect -85 -200 1055 -190
rect 1255 -20 2395 -10
rect 10 -510 60 -495
rect 10 -530 25 -510
rect 45 -530 60 -510
rect 10 -560 60 -530
rect 260 -560 870 -200
rect 1255 -290 1265 -20
rect 1285 -290 1315 -20
rect 1335 -290 2315 -20
rect 2335 -290 2365 -20
rect 2385 -290 2395 -20
rect 1255 -300 2395 -290
rect 1355 -325 1395 -300
rect 1355 -345 1365 -325
rect 1385 -345 1395 -325
rect 1355 -355 1395 -345
rect 1075 -510 1115 -500
rect 1075 -530 1085 -510
rect 1105 -530 1115 -510
rect 1075 -560 1115 -530
rect -85 -570 1215 -560
rect -85 -840 -75 -570
rect -55 -840 -25 -570
rect -5 -840 1135 -570
rect 1155 -840 1185 -570
rect 1205 -840 1215 -570
rect -85 -850 1215 -840
rect 1600 -665 2050 -300
rect 2255 -325 2295 -300
rect 2255 -345 2265 -325
rect 2285 -345 2295 -325
rect 2255 -355 2295 -345
rect 1600 -675 2200 -665
rect 1600 -695 1620 -675
rect 2190 -695 2200 -675
rect 1600 -705 2200 -695
rect -85 -855 1050 -850
rect 1075 -1030 1395 -1020
rect 1075 -1050 1350 -1030
rect 1370 -1050 1395 -1030
rect 1075 -1075 1395 -1050
rect 1600 -1075 2050 -705
rect 2265 -1020 2320 -1010
rect 2265 -1040 2290 -1020
rect 2310 -1040 2320 -1020
rect 2265 -1050 2320 -1040
rect 2265 -1075 2310 -1050
rect 1075 -1080 2310 -1075
rect 1075 -1090 2405 -1080
rect 15 -1115 55 -1105
rect 15 -1135 25 -1115
rect 45 -1135 55 -1115
rect 15 -1160 55 -1135
rect 1075 -1115 1265 -1090
rect 1075 -1135 1085 -1115
rect 1105 -1135 1265 -1115
rect 1075 -1160 1265 -1135
rect -85 -1170 1265 -1160
rect -85 -1440 -75 -1170
rect -55 -1440 -25 -1170
rect -5 -1440 1135 -1170
rect 1155 -1440 1185 -1170
rect 1205 -1360 1265 -1170
rect 1285 -1360 1315 -1090
rect 1335 -1360 1415 -1090
rect 1435 -1360 1620 -1090
rect 1640 -1360 1820 -1090
rect 1840 -1360 2025 -1090
rect 2045 -1360 2225 -1090
rect 2245 -1360 2325 -1090
rect 2345 -1360 2375 -1090
rect 2395 -1360 2405 -1090
rect 1205 -1370 2405 -1360
rect 1205 -1440 1395 -1370
rect -85 -1450 1395 -1440
<< labels >>
rlabel metal1 -85 -1305 -85 -1305 7 VN
port 2 w
rlabel metal1 -85 -55 -85 -55 7 VP
port 1 w
rlabel locali 135 165 135 165 1 VBP
port 3 n
rlabel locali 1495 115 1495 115 3 V1
port 6 e
rlabel locali 2245 -410 2245 -410 3 V2
port 7 e
rlabel locali 125 -1085 125 -1085 1 VCN
port 5 n
rlabel locali 65 -900 65 -900 7 VOUT
port 9 w
rlabel locali 2320 -740 2320 -740 3 VBN
port 8 e
rlabel locali 125 -485 125 -485 1 VCP
port 4 n
<< end >>
